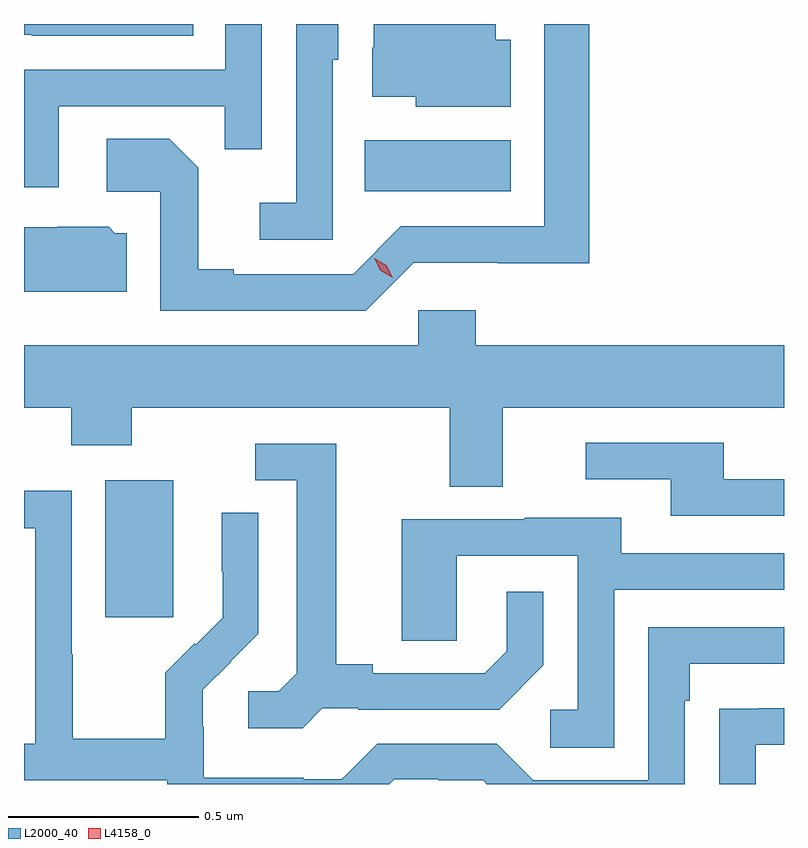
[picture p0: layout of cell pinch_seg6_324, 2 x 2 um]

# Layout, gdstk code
import gdstk
lib = gdstk.Library(unit=1e-6, precision=1e-09)
def R(c, l, rs):  # rectangles x0, y0, x1, y1
    for r in rs: c.add(gdstk.rectangle(r[:2], r[2:], *l))
def P(c, l, *ps):  # polygons
    for p in ps: c.add(gdstk.Polygon(p, *l))
L2000_40 = (2000, 40)
L4158_0 = (4158, 0)

pinch_seg6_324 = lib.new_cell('pinch_seg6_324')
R(pinch_seg6_324, L2000_40, [(637.961,965.433,638.14,965.794), (638.644,966.554,639.028,966.688)])
P(pinch_seg6_324, L2000_40, [(637.839,966.777),(638.275,966.777),(638.275,966.664),(638.373,966.664),(638.373,966.994),(638.277,966.994),(638.277,966.873),(637.747,966.873),(637.747,966.564),(637.839,966.564)],
  [(639.028,966.952),(638.989,966.952),(638.989,966.994),(638.667,966.994),(638.667,966.932),(638.663,966.932),(638.663,966.803),(638.778,966.803),(638.778,966.776),(639.028,966.776)],
  [(638.772,966.366),(638.994,966.366),(638.994,966.365),(639.235,966.365),(639.235,966.994),(639.116,966.994),(639.116,966.462),(638.739,966.462),(638.613,966.336),(638.299,966.336),(638.299,966.349),(638.205,966.349),(638.205,966.616),(638.129,966.692),(637.965,966.692),(637.965,966.552),(638.106,966.552),(638.106,966.24),(638.646,966.24)],
  [(638.192,966.994),(637.747,966.994),(637.747,966.966),(637.768,966.966),(637.768,966.963),(638.192,966.963)],
  [(638.559,966.9),(638.574,966.9),(638.574,966.994),(638.463,966.994),(638.463,966.523),(638.367,966.523),(638.367,966.426),(638.559,966.426)],
  [(638.017,966.444),(637.986,966.444),(637.97,966.46),(637.836,966.46),(637.836,966.459),(637.747,966.459),(637.747,966.29),(638.017,966.29)],
  [(639.007,965.984),(639.747,965.984),(639.747,966.148),(638.936,966.148),(638.936,966.241),(638.784,966.241),(638.784,966.148),(637.747,966.148),(637.747,965.984),(637.871,965.984),(637.871,965.885),(638.031,965.885),(638.031,965.984),(638.867,965.984),(638.867,965.776),(639.007,965.776)],
  [(639.747,965.796),(639.589,965.796),(639.589,965.892),(639.225,965.892),(639.225,965.796),(639.449,965.796),(639.449,965.7),(639.747,965.7)],
  [(638.532,965.193),(638.626,965.193),(638.626,965.19),(638.998,965.19),(639.114,965.306),(639.114,965.5),(639.017,965.5),(639.017,965.343),(638.96,965.286),(638.665,965.286),(638.665,965.309),(638.569,965.309),(638.569,965.889),(638.355,965.889),(638.355,965.793),(638.465,965.793),(638.465,965.285),(638.418,965.238),(638.337,965.238),(638.337,965.141),(638.48,965.141)],
  [(638.721,965.007),(638.837,965.007),(638.837,965.004),(638.955,965.004),(638.965,964.994),(639.486,964.994),(639.486,965.213),(639.499,965.213),(639.499,965.31),(639.747,965.31),(639.747,965.406),(639.39,965.406),(639.39,965.004),(639.087,965.004),(638.991,965.1),(638.676,965.1),(638.583,965.007),(638.483,965.007),(638.483,965.011),(638.22,965.011),(638.22,965.145),(638.218,965.145),(638.218,965.242),(638.292,965.316),(638.291,965.317),(638.364,965.39),(638.364,965.708),(638.268,965.708),(638.268,965.554),(638.27,965.554),(638.27,965.432),(638.199,965.361),(638.196,965.364),(638.119,965.287),(638.119,965.113),(637.875,965.113),(637.875,965.336),(637.872,965.336),(637.872,965.766),(637.747,965.766),(637.747,965.667),(637.776,965.667),(637.776,965.1),(637.747,965.1),(637.747,965.004),(638.124,965.004),(638.124,964.994),(638.708,964.994)],
  [(639.3,965.505),(639.747,965.505),(639.747,965.601),(639.319,965.601),(639.319,965.695),(639.065,965.695),(639.065,965.691),(638.741,965.691),(638.741,965.371),(638.886,965.371),(638.886,965.595),(639.204,965.595),(639.204,965.19),(639.132,965.19),(639.132,965.089),(639.3,965.089)],
  [(639.673,965.097),(639.747,965.097),(639.747,965.193),(639.679,965.193),(639.679,965.192),(639.577,965.192),(639.577,964.994),(639.673,964.994)])
P(pinch_seg6_324, L4158_0, [(638.717,966.326),(638.686,966.345),(638.669,966.378),(638.669,966.378),(638.669,966.378),(638.7,966.359),(638.717,966.326),(638.717,966.326)])

lib.write_gds('pinch_seg6_324.gds')
